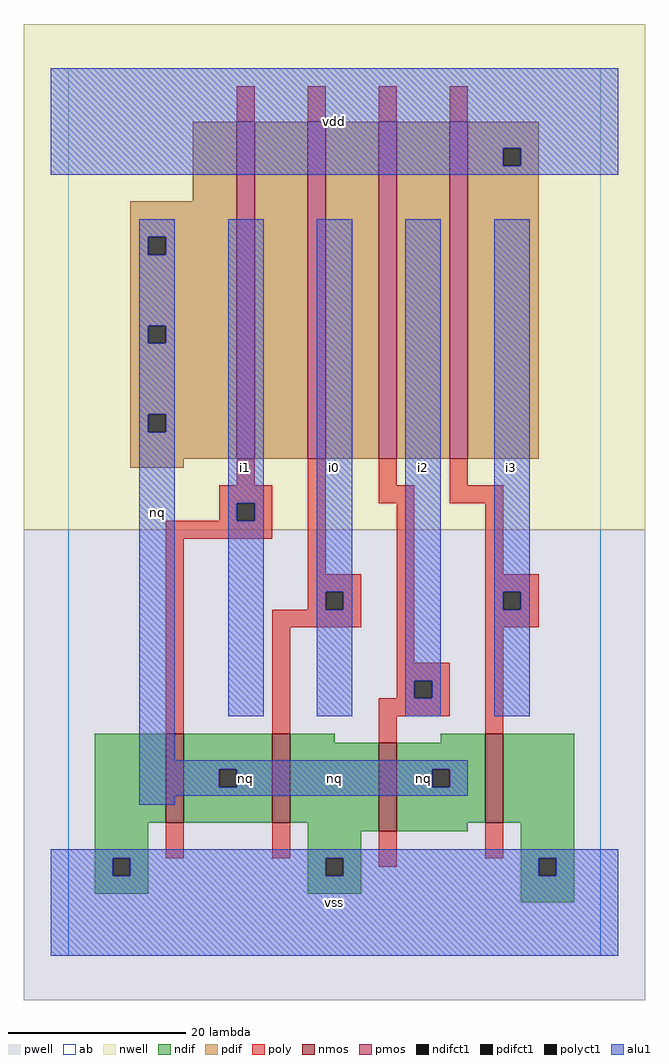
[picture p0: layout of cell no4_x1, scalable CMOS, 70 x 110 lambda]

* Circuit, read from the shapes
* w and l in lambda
.subckt no4_x1 i0 i1 i2 i3 nq vdd vss
M1 nq i1 vss VSUBS nfet w=10 l=2
M2 vss i0 nq VSUBS nfet w=10 l=2
M3 nq i2 vss VSUBS nfet w=10 l=2
M4 vss i3 nq VSUBS nfet w=10 l=2
M5 n1 i1 nq n2 pfet w=38 l=2
M6 n3 i0 n1 n2 pfet w=38 l=2
M7 n4 i2 n3 n2 pfet w=38 l=2
M8 vdd i3 n4 n2 pfet w=38 l=2
.ends

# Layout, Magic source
magic
tech scmos
<< ab >>
rect 0 0 60 100
<< nwell >>
rect -5 48 65 105
<< pwell >>
rect -5 -5 65 48
<< poly >>
rect 19 94 21 98
rect 27 94 29 98
rect 35 94 37 98
rect 43 94 45 98
rect 19 53 21 56
rect 17 51 23 53
rect 17 49 19 51
rect 21 49 23 51
rect 11 47 23 49
rect 11 25 13 47
rect 27 43 29 56
rect 35 53 37 56
rect 43 53 45 56
rect 35 51 39 53
rect 43 51 49 53
rect 27 41 33 43
rect 27 39 29 41
rect 31 39 33 41
rect 23 37 33 39
rect 23 25 25 37
rect 37 33 39 51
rect 47 43 49 51
rect 47 41 53 43
rect 47 39 49 41
rect 51 39 53 41
rect 47 37 53 39
rect 37 31 43 33
rect 37 29 39 31
rect 41 29 43 31
rect 35 27 43 29
rect 35 24 37 27
rect 47 25 49 37
rect 11 11 13 15
rect 23 11 25 15
rect 35 10 37 14
rect 47 11 49 15
<< ndif >>
rect 3 15 11 25
rect 13 21 23 25
rect 13 19 17 21
rect 19 19 23 21
rect 13 15 23 19
rect 25 24 30 25
rect 42 24 47 25
rect 25 15 35 24
rect 3 11 9 15
rect 27 14 35 15
rect 37 21 47 24
rect 37 19 41 21
rect 43 19 47 21
rect 37 15 47 19
rect 49 15 57 25
rect 37 14 45 15
rect 27 11 33 14
rect 3 9 5 11
rect 7 9 9 11
rect 3 7 9 9
rect 27 9 29 11
rect 31 9 33 11
rect 51 11 57 15
rect 27 7 33 9
rect 51 9 53 11
rect 55 9 57 11
rect 51 6 57 9
<< pdif >>
rect 14 85 19 94
rect 7 81 19 85
rect 7 79 9 81
rect 11 79 19 81
rect 7 71 19 79
rect 7 69 9 71
rect 11 69 19 71
rect 7 61 19 69
rect 7 59 9 61
rect 11 59 19 61
rect 7 56 19 59
rect 21 56 27 94
rect 29 56 35 94
rect 37 56 43 94
rect 45 91 53 94
rect 45 89 49 91
rect 51 89 53 91
rect 45 56 53 89
rect 7 55 13 56
<< alu1 >>
rect -2 91 62 100
rect -2 89 49 91
rect 51 89 62 91
rect -2 88 62 89
rect 8 81 12 83
rect 8 79 9 81
rect 11 79 12 81
rect 8 71 12 79
rect 8 69 9 71
rect 11 69 12 71
rect 8 61 12 69
rect 8 59 9 61
rect 11 59 12 61
rect 8 22 12 59
rect 18 51 22 83
rect 18 49 19 51
rect 21 49 22 51
rect 18 27 22 49
rect 28 41 32 83
rect 28 39 29 41
rect 31 39 32 41
rect 28 27 32 39
rect 38 31 42 83
rect 38 29 39 31
rect 41 29 42 31
rect 38 27 42 29
rect 48 41 52 83
rect 48 39 49 41
rect 51 39 52 41
rect 48 27 52 39
rect 8 21 45 22
rect 8 19 17 21
rect 19 19 41 21
rect 43 19 45 21
rect 8 18 45 19
rect 8 17 12 18
rect -2 11 62 12
rect -2 9 5 11
rect 7 9 29 11
rect 31 9 53 11
rect 55 9 62 11
rect -2 0 62 9
<< nmos >>
rect 11 15 13 25
rect 23 15 25 25
rect 35 14 37 24
rect 47 15 49 25
<< pmos >>
rect 19 56 21 94
rect 27 56 29 94
rect 35 56 37 94
rect 43 56 45 94
<< polyct1 >>
rect 19 49 21 51
rect 29 39 31 41
rect 49 39 51 41
rect 39 29 41 31
<< ndifct1 >>
rect 17 19 19 21
rect 41 19 43 21
rect 5 9 7 11
rect 29 9 31 11
rect 53 9 55 11
<< pdifct1 >>
rect 9 79 11 81
rect 9 69 11 71
rect 9 59 11 61
rect 49 89 51 91
<< labels >>
rlabel alu1 10 50 10 50 6 nq
rlabel alu1 20 20 20 20 6 nq
rlabel alu1 20 55 20 55 6 i1
rlabel alu1 30 20 30 20 6 nq
rlabel alu1 30 6 30 6 6 vss
rlabel alu1 40 20 40 20 6 nq
rlabel alu1 30 55 30 55 6 i0
rlabel alu1 40 55 40 55 6 i2
rlabel alu1 30 94 30 94 6 vdd
rlabel alu1 50 55 50 55 6 i3
<< end >>
